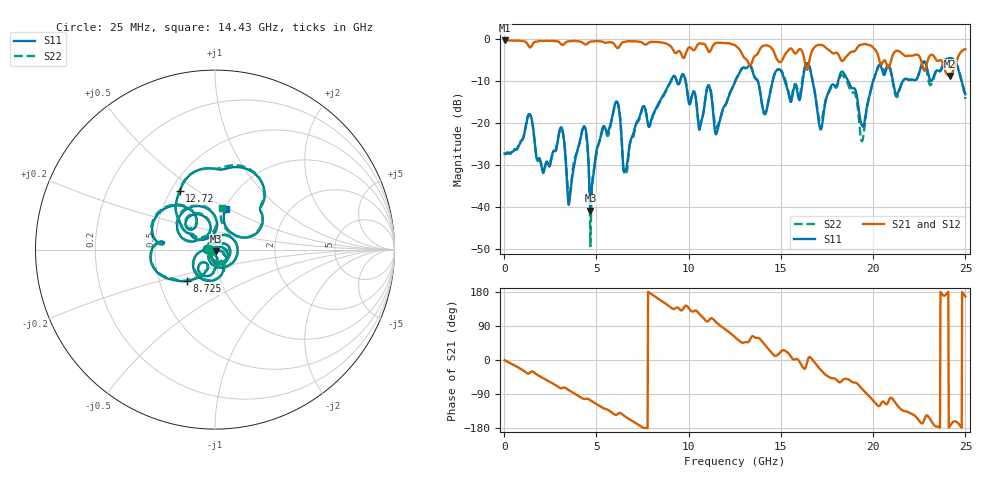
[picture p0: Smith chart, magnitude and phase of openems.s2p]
! R_s4_rect_n1: Finite board 24 × 16 mm, via L1 → L4 through the L2/L3 cavity, one GND via 2 mm away
! stackup: 4-layer 1.6 mm FR-4
! ports: 1 L1, 2 L4
! openEMS 0.37.0, staircase, fine mesh (dfine 0.035 mm), 1262250 cells
# Hz S RI R 50
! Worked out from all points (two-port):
!   1000 points, 25 MHz to 25 GHz, reference 50 ohm
!   highest |S21| = -0.38 dB at 25 MHz (marker M1); lowest = -8.8 dB at 24.15 GHz (marker M2)
!   |S21| within 3 dB of the highest: start of sweep to 9.28 GHz; 9.857 GHz to 12.88 GHz (3.018 GHz wide, 26.6 % of centre) (the widest 2 of 11)
!   lowest |S11| = -40.9 dB at 4.675 GHz (marker M3), VSWR 1.02, Z = 50.3 - j0.864 ohm
!   |S11| at or under -10 dB: start of sweep to 9.031 GHz; 9.829 GHz to 12.53 GHz (2.705 GHz wide, 24.2 % of centre); 16.72 GHz to 18.11 GHz (1.39 GHz wide, 7.98 % of centre) (the widest 3 of 10)
!   |S22| runs from -49.3 to -4.6 dB; largest |S21 - S12| = 0.0092
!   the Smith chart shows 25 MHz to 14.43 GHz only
!   S11 on the Smith chart (normalised r, x): 25 MHz: 0.92, +0.00; 8.725 GHz: 0.69, -0.26; 12.72 GHz: 0.56, +0.42; 14.43 GHz: 1.01, +0.48
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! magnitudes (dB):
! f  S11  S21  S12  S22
! 25 MHz  -27.3  -0.4  -0.4  -27.6
! 3.1 GHz  -21.1  -1.3  -1.3  -21.4
! 3.55 GHz  -38.3  -0.6  -0.6  -36.7
! 4.2 GHz  -22.4  -0.8  -0.8  -22.3
! 4.675 GHz  -40.9  -0.7  -0.7  -49.3
! 6.05 GHz  -15.1  -1.8  -1.7  -15.3
! 6.575 GHz  -31.3  -0.7  -0.7  -31.3
! 8.35 GHz  -15.5  -0.8  -0.7  -15.9
! 8.725 GHz  -12.6  -1.0  -1.0  -12.8
! 10.62 GHz  -20.9  -1.1  -1.1  -20.7
! 11.1 GHz  -11.2  -3.1  -3.1  -11.0
! 11.53 GHz  -22.4  -1.0  -1.0  -21.0
! 12.53 GHz  -10.1  -1.6  -1.6  -10.0
! 12.72 GHz  -8.4  -2.4  -2.4  -8.3
! 14.43 GHz  -12.6  -1.9  -1.9  -12.6
! 16.68 GHz  -9.1  -3.0  -3.0  -9.0
! 17.15 GHz  -21.6  -1.4  -1.4  -19.6
! 18.35 GHz  -7.8  -5.2  -5.2  -8.7
! 19.4 GHz  -20.6  -1.4  -1.3  -24.4
! 20.85 GHz  -6.4  -6.9  -6.8  -6.3
! 24.15 GHz  -4.6  -8.8  -8.9  -4.6
! 25 GHz  -13.2  -2.5  -2.4  -14.3
